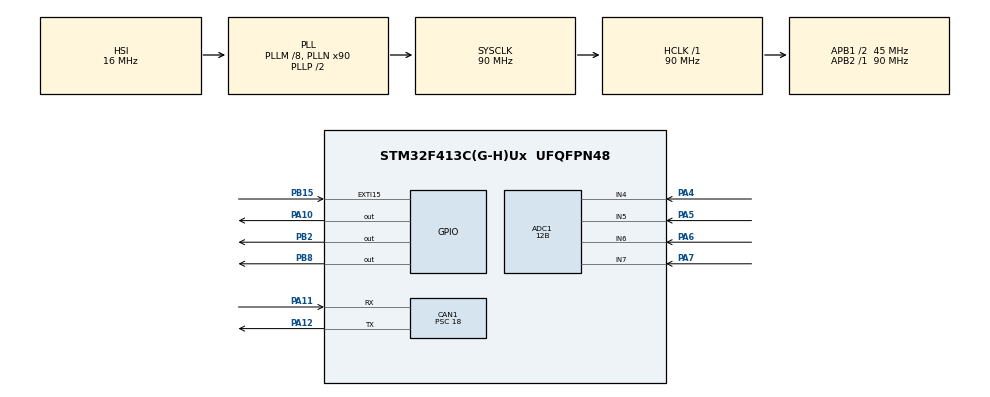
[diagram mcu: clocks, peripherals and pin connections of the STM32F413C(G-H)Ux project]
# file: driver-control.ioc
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ADC1.Channel-0\#ChannelRegularConversion=ADC_CHANNEL_4
ADC1.Channel-1\#ChannelRegularConversion=ADC_CHANNEL_5
ADC1.Channel-2\#ChannelRegularConversion=ADC_CHANNEL_6
ADC1.Channel-3\#ChannelRegularConversion=ADC_CHANNEL_7
ADC1.ContinuousConvMode=ENABLE
ADC1.DMAContinuousRequests=ENABLE
ADC1.EOCSelection=ADC_EOC_SINGLE_CONV
ADC1.NbrOfConversion=4
ADC1.NbrOfConversionFlag=1
ADC1.Rank-0\#ChannelRegularConversion=1
ADC1.Rank-1\#ChannelRegularConversion=2
ADC1.Rank-2\#ChannelRegularConversion=3
ADC1.Rank-3\#ChannelRegularConversion=4
ADC1.Resolution=ADC_RESOLUTION_12B
ADC1.SamplingTime-0\#ChannelRegularConversion=ADC_SAMPLETIME_3CYCLES
ADC1.SamplingTime-1\#ChannelRegularConversion=ADC_SAMPLETIME_3CYCLES
ADC1.SamplingTime-2\#ChannelRegularConversion=ADC_SAMPLETIME_3CYCLES
ADC1.SamplingTime-3\#ChannelRegularConversion=ADC_SAMPLETIME_3CYCLES
ADC1.ScanConvMode=ENABLE
ADC1.master=1
CAN1.ABOM=ENABLE
CAN1.AWUM=DISABLE
CAN1.BS1=CAN_BS1_3TQ
CAN1.CalculateBaudRate=500000
CAN1.CalculateTimeBit=2000
CAN1.CalculateTimeQuantum=400.0
CAN1.NART=DISABLE
CAN1.Prescaler=18
CAN1.TTCM=DISABLE
Dma.ADC1.0.Direction=DMA_PERIPH_TO_MEMORY
Dma.ADC1.0.FIFOMode=DMA_FIFOMODE_DISABLE
Dma.ADC1.0.Instance=DMA2_Stream0
Dma.ADC1.0.MemDataAlignment=DMA_MDATAALIGN_HALFWORD
Dma.ADC1.0.MemInc=DMA_MINC_ENABLE
Dma.ADC1.0.Mode=DMA_CIRCULAR
Dma.ADC1.0.PeriphDataAlignment=DMA_PDATAALIGN_HALFWORD
Dma.ADC1.0.PeriphInc=DMA_PINC_DISABLE
Dma.ADC1.0.Priority=DMA_PRIORITY_LOW
Dma.Request0=ADC1
Mcu.Family=STM32F4
Mcu.Name=STM32F413C(G-H)Ux
Mcu.Package=UFQFPN48
NVIC.CAN1_RX0_IRQn=true\:0\:0\:false\:false\:true\:true\:true
NVIC.CAN1_TX_IRQn=true\:0\:0\:false\:false\:true\:true\:true
NVIC.DMA2_Stream0_IRQn=true\:0\:0\:false\:false\:true\:false\:true
NVIC.EXTI15_10_IRQn=true\:0\:0\:false\:false\:true\:true\:true
NVIC.PriorityGroup=NVIC_PRIORITYGROUP_4
NVIC.TIM8_TRG_COM_TIM14_IRQn=true\:0\:0\:false\:false\:true\:true\:true
NVIC.TIM8_UP_TIM13_IRQn=true\:0\:0\:false\:false\:true\:true\:true
PA10.Signal=GPIO_Output
PA11.Mode=CAN_Activate
PA11.Signal=CAN1_RX
PA12.Mode=CAN_Activate
PA12.Signal=CAN1_TX
PA13.Mode=Serial_Wire
PA13.Signal=SYS_JTMS-SWDIO
PA14.Mode=Serial_Wire
PA14.Signal=SYS_JTCK-SWCLK
PA4.Signal=ADCx_IN4
PA5.Signal=ADCx_IN5
PA6.Signal=ADCx_IN6
PA7.Signal=ADCx_IN7
PB15.Signal=GPXTI15
PB2.Signal=GPIO_Output
PB8.Signal=GPIO_Output
PH0\ -\ OSC_IN.Mode=HSE-External-Oscillator
PH0\ -\ OSC_IN.Signal=RCC_OSC_IN
PH1\ -\ OSC_OUT.Mode=HSE-External-Oscillator
PH1\ -\ OSC_OUT.Signal=RCC_OSC_OUT
ProjectManager.HeapSize=0x200
ProjectManager.StackSize=0x400
ProjectManager.TargetToolchain=Makefile
RCC.AHBFreq_Value=90000000
RCC.APB1CLKDivider=RCC_HCLK_DIV2
RCC.APB1Freq_Value=45000000
RCC.APB1TimFreq_Value=90000000
RCC.APB2Freq_Value=90000000
RCC.APB2TimFreq_Value=90000000
RCC.CortexFreq_Value=90000000
RCC.HCLKFreq_Value=90000000
RCC.PLLM=8
RCC.PLLN=90
RCC.SYSCLKFreq_VALUE=90000000
RCC.SYSCLKSource=RCC_SYSCLKSOURCE_PLLCLK
RCC.USBFreq_Value=90000000
RCC.VCOOutputFreq_Value=180000000
SH.ADCx_IN4.0=ADC1_IN4,IN4
SH.ADCx_IN5.0=ADC1_IN5,IN5
SH.ADCx_IN6.0=ADC1_IN6,IN6
SH.ADCx_IN7.0=ADC1_IN7,IN7
TIM13.Period=100-1
TIM13.Prescaler=9000-1
TIM14.Period=10-1
TIM14.Prescaler=9000-1
VP_TIM13_VS_ClockSourceINT.Mode=Enable_Timer
VP_TIM14_VS_ClockSourceINT.Mode=Enable_Timer
board=custom

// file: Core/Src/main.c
/* USER CODE BEGIN Header */
/**
  ******************************************************************************
  * @file           : main.c
  * @brief          : Main program body
  ******************************************************************************
  * @attention
  *
  * Copyright (c) 2022 STMicroelectronics.
  * All rights reserved.
  *
  * This software is licensed under terms that can be found in the LICENSE file
  * in the root directory of this software component.
  * If no LICENSE file comes with this software, it is provided AS-IS.
  *
  ******************************************************************************
  */
/* USER CODE END Header */
#include "main.h"

/* USER CODE BEGIN PD */
#define ADC_BUF_LEN               4
#define MAX_PEDAL_SKEW            100
#define PEDAL_MAX                 600     // max pedal found from Accelerator test 12bit ADC
#define PEDAL_MIN                 128     // max pedal found from Accelerator test 12bit ADC
#define PEDAL_DEADBAND            10      // max pedal found from Accelerator test 12bit ADC
#define BRAKE_LIGHT_THRESHOLD     10      // when the brake light turns on
#define TORQUE_DEADBAND           0.05      // commanded torque deadband
#define MAX_TORQUE                2200     // MAX TORQUE RINEHART CAN ACCEPT, DO NOT CHANGE (230) // *10 Scaler

#define PRECHARGE_COEFFICIENT       0.85          // 95% complete with precharge so it's probably safe to continue

/* USER CODE END PD */

ADC_HandleTypeDef hadc1;
DMA_HandleTypeDef hdma_adc1;

CAN_HandleTypeDef hcan1;

TIM_HandleTypeDef htim13;
TIM_HandleTypeDef htim14;

/* USER CODE BEGIN PV */

// CAN transmitting
CAN_TxHeaderTypeDef TxHeader;               // either daq or control idk which one address
CAN_TxHeaderTypeDef TxHeader2;              // rinehart command message address
CAN_TxHeaderTypeDef TxHeader3;              // rinehart command message address
CAN_TxHeaderTypeDef TxHeader4;              // rinehart command message address
uint8_t TxData[8];
uint32_t TxMailbox;
uint32_t TxMailbox1;

// CAN reciving
CAN_RxHeaderTypeDef RxHeader;
uint8_t RxData[8];
CAN_FilterTypeDef filter0;                  // filter for __________
CAN_FilterTypeDef filter1;                  // fiter for ___________
CAN_FilterTypeDef canFilter2;                  // fiter for ___________
CAN_FilterTypeDef canFilter0;                  // fiter for ___________

// signal variables (0 = off | 1 = on)
uint8_t imdFault = 0;
uint8_t bmsFault = 0;
uint8_t switch_cooling = 0;
uint8_t switch_direction = 0;               // 0 = forward | 1 = reverse (this changes requires an inverter restart)
uint8_t brakeLight = 0;

// analog pins
uint16_t adc_buf[ADC_BUF_LEN];
uint16_t brake0 = 0;
uint16_t brake1 = 0;
uint16_t pedal0 = 0;
uint16_t pedal1 = 1;
uint16_t brakeAverage = 0;
uint16_t pedalAverage = 0;

// state variables (0 = off | 1 = on)
uint8_t ready_to_drive = 0;                 // 0 until precharge is done
uint8_t buzzerState = 0;                    // for controlling the buzzer
uint8_t buzzerCounter = 0;                  // counter for how long the buzzer has been buzzing
uint8_t enableInverter = 0;                 // stores state of inverter, can only be 1 after buzzer is done buzzing

uint32_t rinehartVoltage = 0;                 // read from CAN
uint32_t bmsVoltage = 0;					            // read from CAN

// rinehart commands
uint16_t commandedTorque = 0;               // torque request sent to rinehart, init with 0 to prevent unintended acceleration
uint16_t command_torque_limit = 0;          // max torque allowed to be requested from rinehart, init with 0 to prevent unintended accleration
enum mode                                   // create an enumeration for the drive modes
{
  SLOW,       // 50% power
  ECO,        // 75% power
  FAST        // 100% power
};
int driveMode = ECO;                        // set the inital drive mode of the car

// precharge states
enum prechargeStates
{
	PRECHARGE_OFF,
	PRECHARGE_ON,
	PRECHARGE_DONE,
	PRECHARGE_ERROR
};
uint8_t prechargeState = PRECHARGE_OFF;			  // set initial precharge state to OFF
uint8_t lastPrechargeState = PRECHARGE_OFF;
uint8_t voltageCheckCount = 0;
uint8_t rinehartUpdate = 0; // listens for rinehart receive parameter success message

/* USER CODE END PV */

void SystemClock_Config(void);
static void MX_GPIO_Init(void);
static void MX_CAN1_Init(void);
static void MX_DMA_Init(void);
static void MX_ADC1_Init(void);
static void MX_TIM14_Init(void);
static void MX_TIM13_Init(void);
/* USER CODE BEGIN PFP */
uint16_t adc_average(uint16_t adc0, uint16_t adc1);
long mapValue(long x, long in_min, long in_max, long out_min, long out_max);
uint16_t getCommandedTorque();
void prechargeControl();

/* USER CODE END PFP */

int main(void)
{
  /* USER CODE BEGIN 1 */

  // define TX header
  TxHeader.StdId = 0x093;
  TxHeader.ExtId = 0x0;
  TxHeader.IDE = CAN_ID_STD;
  TxHeader.RTR = CAN_RTR_DATA;
  TxHeader.DLC = 8;
  TxHeader.TransmitGlobalTime = DISABLE;

  // Rinehart command message
  TxHeader2.StdId = 0x0C0;
  TxHeader2.ExtId = 0x0;
  TxHeader2.IDE = CAN_ID_STD;
  TxHeader2.RTR = CAN_RTR_DATA;
  TxHeader2.DLC = 8;
  TxHeader2.TransmitGlobalTime = DISABLE;

  // define TX header
  TxHeader3.StdId = 0x092;
  TxHeader3.ExtId = 0x0;
  TxHeader3.IDE = CAN_ID_STD;
  TxHeader3.RTR = CAN_RTR_DATA;
  TxHeader3.DLC = 8;
  TxHeader3.TransmitGlobalTime = DISABLE;

   // define TX header
  TxHeader4.StdId = 0x0C1;
  TxHeader4.ExtId = 0x0;
  TxHeader4.IDE = CAN_ID_STD;
  TxHeader4.RTR = CAN_RTR_DATA;
  TxHeader4.DLC = 8;
  TxHeader4.TransmitGlobalTime = DISABLE;

  /* USER CODE END 1 */

  /* MCU Configuration--------------------------------------------------------*/

  /* Reset of all peripherals, Initializes the Flash interface and the Systick. */
  HAL_Init();

  /* Configure the system clock */
  SystemClock_Config();

  /* Initialize all configured peripherals */
  MX_GPIO_Init();
  MX_CAN1_Init();
  MX_DMA_Init();
  MX_ADC1_Init();
  MX_TIM14_Init();
  MX_TIM13_Init();
  /* USER CODE BEGIN 2 */

  // start interrupts
  HAL_CAN_Start(&hcan1);
  HAL_CAN_ActivateNotification(&hcan1, CAN_IT_RX_FIFO0_MSG_PENDING);
  HAL_TIM_Base_Start_IT(&htim14);
  // HAL_TIM_Base_Start_IT(&htim13);
  HAL_ADC_Start_DMA(&hadc1, (uint32_t*)adc_buf, ADC_BUF_LEN);

  /* USER CODE END 2 */

  /* Infinite loop */
  while (1)
  {

  }
}

void SystemClock_Config(void)
{
  RCC_OscInitTypeDef RCC_OscInitStruct = {0};
  RCC_ClkInitTypeDef RCC_ClkInitStruct = {0};

  /** Configure the main internal regulator output voltage
  */
  __HAL_RCC_PWR_CLK_ENABLE();
  __HAL_PWR_VOLTAGESCALING_CONFIG(PWR_REGULATOR_VOLTAGE_SCALE1);
  /** Initializes the RCC Oscillators according to the specified parameters
  * in the RCC_OscInitTypeDef structure.
  */
  RCC_OscInitStruct.OscillatorType = RCC_OSCILLATORTYPE_HSI;
  RCC_OscInitStruct.HSIState = RCC_HSI_ON;
  RCC_OscInitStruct.HSICalibrationValue = RCC_HSICALIBRATION_DEFAULT;
  RCC_OscInitStruct.PLL.PLLState = RCC_PLL_ON;
  RCC_OscInitStruct.PLL.PLLSource = RCC_PLLSOURCE_HSI;
  RCC_OscInitStruct.PLL.PLLM = 8;
  RCC_OscInitStruct.PLL.PLLN = 90;
  RCC_OscInitStruct.PLL.PLLP = RCC_PLLP_DIV2;
  RCC_OscInitStruct.PLL.PLLQ = 2;
  RCC_OscInitStruct.PLL.PLLR = 2;
  if (HAL_RCC_OscConfig(&RCC_OscInitStruct) != HAL_OK)
  {
    Error_Handler();
  }
  /** Initializes the CPU, AHB and APB buses clocks
  */
  RCC_ClkInitStruct.ClockType = RCC_CLOCKTYPE_HCLK|RCC_CLOCKTYPE_SYSCLK
                              |RCC_CLOCKTYPE_PCLK1|RCC_CLOCKTYPE_PCLK2;
  RCC_ClkInitStruct.SYSCLKSource = RCC_SYSCLKSOURCE_PLLCLK;
  RCC_ClkInitStruct.AHBCLKDivider = RCC_SYSCLK_DIV1;
  RCC_ClkInitStruct.APB1CLKDivider = RCC_HCLK_DIV2;
  RCC_ClkInitStruct.APB2CLKDivider = RCC_HCLK_DIV1;

  if (HAL_RCC_ClockConfig(&RCC_ClkInitStruct, FLASH_LATENCY_3) != HAL_OK)
  {
    Error_Handler();
  }
}

static void MX_ADC1_Init(void)
{

  ADC_ChannelConfTypeDef sConfig = {0};

  /** Configure the global features of the ADC (Clock, Resolution, Data Alignment and number of conversion)
  */
  hadc1.Instance = ADC1;
  hadc1.Init.ClockPrescaler = ADC_CLOCK_SYNC_PCLK_DIV4;
  hadc1.Init.Resolution = ADC_RESOLUTION_12B;
  hadc1.Init.ScanConvMode = ENABLE;
  hadc1.Init.ContinuousConvMode = ENABLE;
  hadc1.Init.DiscontinuousConvMode = DISABLE;
  hadc1.Init.ExternalTrigConvEdge = ADC_EXTERNALTRIGCONVEDGE_NONE;
  hadc1.Init.ExternalTrigConv = ADC_SOFTWARE_START;
  hadc1.Init.DataAlign = ADC_DATAALIGN_RIGHT;
  hadc1.Init.NbrOfConversion = 4;
  hadc1.Init.DMAContinuousRequests = ENABLE;
  hadc1.Init.EOCSelection = ADC_EOC_SINGLE_CONV;
  if (HAL_ADC_Init(&hadc1) != HAL_OK)
  {
    Error_Handler();
  }
  /** Configure for the selected ADC regular channel its corresponding rank in the sequencer and its sample time.
  */
  sConfig.Channel = ADC_CHANNEL_4;
  sConfig.Rank = 1;
  sConfig.SamplingTime = ADC_SAMPLETIME_3CYCLES;
  if (HAL_ADC_ConfigChannel(&hadc1, &sConfig) != HAL_OK)
  {
    Error_Handler();
  }
  /** Configure for the selected ADC regular channel its corresponding rank in the sequencer and its sample time.
  */
  sConfig.Channel = ADC_CHANNEL_5;
  sConfig.Rank = 2;
  if (HAL_ADC_ConfigChannel(&hadc1, &sConfig) != HAL_OK)
  {
    Error_Handler();
  }
  /** Configure for the selected ADC regular channel its corresponding rank in the sequencer and its sample time.
  */
  sConfig.Channel = ADC_CHANNEL_6;
  sConfig.Rank = 3;
  if (HAL_ADC_ConfigChannel(&hadc1, &sConfig) != HAL_OK)
  {
    Error_Handler();
  }
  /** Configure for the selected ADC regular channel its corresponding rank in the sequencer and its sample time.
  */
  sConfig.Channel = ADC_CHANNEL_7;
  sConfig.Rank = 4;
  if (HAL_ADC_ConfigChannel(&hadc1, &sConfig) != HAL_OK)
  {
    Error_Handler();
  }

}

static void MX_CAN1_Init(void)
{

  hcan1.Instance = CAN1;
  hcan1.Init.Prescaler = 18;
  hcan1.Init.Mode = CAN_MODE_NORMAL;
  hcan1.Init.SyncJumpWidth = CAN_SJW_1TQ;
  hcan1.Init.TimeSeg1 = CAN_BS1_3TQ;
  hcan1.Init.TimeSeg2 = CAN_BS2_1TQ;
  hcan1.Init.TimeTriggeredMode = DISABLE;
  hcan1.Init.AutoBusOff = ENABLE;
  hcan1.Init.AutoWakeUp = DISABLE;
  hcan1.Init.AutoRetransmission = DISABLE;
  hcan1.Init.ReceiveFifoLocked = DISABLE;
  hcan1.Init.TransmitFifoPriority = DISABLE;
  if (HAL_CAN_Init(&hcan1) != HAL_OK)
  {
    Error_Handler();
  }
  /* USER CODE BEGIN CAN1_Init 2 */

  // listen for RCB
  filter0.FilterIdHigh = 0x082 << 5;
  filter0.FilterIdLow = 0x000;
  filter0.FilterMaskIdHigh = 0x082 << 5;
  filter0.FilterMaskIdLow = 0x000;
  filter0.FilterFIFOAssignment =  CAN_RX_FIFO0;
  filter0.FilterBank = 1;
  filter0.FilterMode = CAN_FILTERMODE_IDMASK;
  filter0.FilterScale = CAN_FILTERSCALE_32BIT;
  filter0.FilterActivation = ENABLE;
  filter0.SlaveStartFilterBank = 0;

  HAL_CAN_ConfigFilter(&hcan1, &filter0);

  // listen for HVB
  filter1.FilterIdHigh = 0x0A7 << 5;
  filter1.FilterIdLow = 0x000;
  filter1.FilterMaskIdHigh = 0x0A7 << 5;
  filter1.FilterMaskIdLow = 0x000;
  filter1.FilterFIFOAssignment =  CAN_RX_FIFO0;
  filter1.FilterBank = 2;
  filter1.FilterMode = CAN_FILTERMODE_IDMASK;
  filter1.FilterScale = CAN_FILTERSCALE_32BIT;
  filter1.FilterActivation = ENABLE;
  filter1.SlaveStartFilterBank = 0;

  HAL_CAN_ConfigFilter(&hcan1, &filter1);

    // init the CAN filter for Rinehart Parameter Success messages
  canFilter2.FilterIdHigh = 0x0C2 << 5;      // Rinehart IDs: 0xA0 - 0xB1
  canFilter2.FilterIdLow = 0x000;
  canFilter2.FilterMaskIdHigh = 0x0C2 << 5;
  canFilter2.FilterMaskIdLow = 0x000;
  canFilter2.FilterBank = 3;
  canFilter2.FilterMode = CAN_FILTERMODE_IDMASK;
  canFilter2.FilterFIFOAssignment = CAN_RX_FIFO0;
  canFilter2.FilterScale = CAN_FILTERSCALE_32BIT;
  canFilter2.FilterActivation = ENABLE;

HAL_CAN_ConfigFilter(&hcan1, &canFilter2);

  // init the CAN filter for BMS messages
    canFilter0.FilterIdHigh = 0x6B0 << 5;   // Orion ID: 0x6B0
  	canFilter0.FilterIdLow = 0x000;
    canFilter0.FilterMaskIdHigh = 0x6B0 << 5;
  	canFilter0.FilterMaskIdLow = 0x000;
    canFilter0.FilterBank = 4;
  	canFilter0.FilterMode = CAN_FILTERMODE_IDMASK;
  	canFilter0.FilterFIFOAssignment = CAN_RX_FIFO0;
  	canFilter0.FilterScale = CAN_FILTERSCALE_32BIT;
  	canFilter0.FilterActivation = ENABLE;

    HAL_CAN_ConfigFilter(&hcan1, &canFilter0);

  /* USER CODE END CAN1_Init 2 */

}

static void MX_TIM13_Init(void)
{

  htim13.Instance = TIM13;
  htim13.Init.Prescaler = 9000-1;
  htim13.Init.CounterMode = TIM_COUNTERMODE_UP;
  htim13.Init.Period = 100-1;
  htim13.Init.ClockDivision = TIM_CLOCKDIVISION_DIV1;
  htim13.Init.AutoReloadPreload = TIM_AUTORELOAD_PRELOAD_DISABLE;
  if (HAL_TIM_Base_Init(&htim13) != HAL_OK)
  {
    Error_Handler();
  }

}

static void MX_TIM14_Init(void)
{

  htim14.Instance = TIM14;
  htim14.Init.Prescaler = 9000-1;
  htim14.Init.CounterMode = TIM_COUNTERMODE_UP;
  htim14.Init.Period = 10-1;
  htim14.Init.ClockDivision = TIM_CLOCKDIVISION_DIV1;
  htim14.Init.AutoReloadPreload = TIM_AUTORELOAD_PRELOAD_DISABLE;
  if (HAL_TIM_Base_Init(&htim14) != HAL_OK)
  {
    Error_Handler();
  }

}

static void MX_DMA_Init(void)
{

  /* DMA controller clock enable */
  __HAL_RCC_DMA2_CLK_ENABLE();

  /* DMA interrupt init */
  /* DMA2_Stream0_IRQn interrupt configuration */
  HAL_NVIC_SetPriority(DMA2_Stream0_IRQn, 0, 0);
  HAL_NVIC_EnableIRQ(DMA2_Stream0_IRQn);

}

static void MX_GPIO_Init(void)
{
  GPIO_InitTypeDef GPIO_InitStruct = {0};

  /* GPIO Ports Clock Enable */
  __HAL_RCC_GPIOH_CLK_ENABLE();
  __HAL_RCC_GPIOA_CLK_ENABLE();
  __HAL_RCC_GPIOB_CLK_ENABLE();

  /*Configure GPIO pin Output Level */
  HAL_GPIO_WritePin(GPIOB, GPIO_PIN_2|GPIO_PIN_8, GPIO_PIN_RESET);

  /*Configure GPIO pin Output Level */
  HAL_GPIO_WritePin(GPIOA, GPIO_PIN_10, GPIO_PIN_RESET);

  /*Configure GPIO pins : PB2 PB8 */
  GPIO_InitStruct.Pin = GPIO_PIN_2|GPIO_PIN_8;
  GPIO_InitStruct.Mode = GPIO_MODE_OUTPUT_PP;
  GPIO_InitStruct.Pull = GPIO_NOPULL;
  GPIO_InitStruct.Speed = GPIO_SPEED_FREQ_LOW;
  HAL_GPIO_Init(GPIOB, &GPIO_InitStruct);

  /*Configure GPIO pin : PB15 */
  GPIO_InitStruct.Pin = GPIO_PIN_15;
  GPIO_InitStruct.Mode = GPIO_MODE_IT_RISING;
  GPIO_InitStruct.Pull = GPIO_NOPULL;
  HAL_GPIO_Init(GPIOB, &GPIO_InitStruct);

  /*Configure GPIO pin : PA10 */
  GPIO_InitStruct.Pin = GPIO_PIN_10;
  GPIO_InitStruct.Mode = GPIO_MODE_OUTPUT_PP;
  GPIO_InitStruct.Pull = GPIO_NOPULL;
  GPIO_InitStruct.Speed = GPIO_SPEED_FREQ_LOW;
  HAL_GPIO_Init(GPIOA, &GPIO_InitStruct);

  /* EXTI interrupt init*/
  HAL_NVIC_SetPriority(EXTI15_10_IRQn, 0, 0);
  HAL_NVIC_EnableIRQ(EXTI15_10_IRQn);

}

/* USER CODE BEGIN 4 */

// re-map function
long mapValue(long x, long in_min, long in_max, long out_min, long out_max) {
  return (x - in_min) * (out_max - out_min) / (in_max - in_min) + out_min;
}

void prechargeControl()
{
  // NOTE: Weird thing about Rinehart 0x0A7 message:
  //      Sometimes it sends a 0 byte length data. Make sure we're only reading
  //      The value if the DLC is 8
	switch (prechargeState)
	{
		case (PRECHARGE_OFF):
			// set ready to drive to false
			ready_to_drive = 0;

      // this state sends a message to rinehart
      // if (lastPrechargeState != prechargeState)
      // {

      if (!rinehartUpdate){ // keep sending message until rinehart says it updated

        // message is sent to rinehart to turn everything off
        TxData[0] = 1;          // parameter address. LSB
        TxData[1] = 0;          // parameter address. MSB
        TxData[2] = 1;          // Read / Write. 1 is write
        TxData[3] = 0;          // N/A
        TxData[4] = 0;          // Data. "0" off, "1": relay 1 on, "2": relay 2 on, "3": relay 1 and 2 on
        TxData[5] = 0x55;         // 55 means relay control
        TxData[6] = 0;          // N/A
        TxData[7] = 0;          // N/A

        // send message
        HAL_CAN_AddTxMessage(&hcan1, &TxHeader4, TxData, &TxMailbox1);
      }

      // else{
        // update last precharge state
        // lastPrechargeState = prechargeState;
      // }

      // move to precharge on
      if (rinehartUpdate){
        prechargeState = PRECHARGE_ON;
        rinehartUpdate = 0;
      }

      // }
		break;

		case (PRECHARGE_ON):
      // not ready to drive yet
      ready_to_drive = 0;

      // turn on precharge relay
      // this state sends a message to rinehart to turn
      // if (lastPrechargeState != prechargeState)
      // {
      if (!rinehartUpdate){
        // message is sent to rinehart to turn on precharge relay
        // precharge relay is on relay 1 from Rinehart
        TxData[0] = 1;            // parameter address. LSB
        TxData[1] = 0;            // parameter address. MSB
        TxData[2] = 1;            // Read / Write. 1 is write
        TxData[3] = 0;            // N/A
        TxData[4] = 1;            // Data. "0" off, "1": relay 1 on, "2": relay 2 on, "3": relay 1 and 2 on
        TxData[5] = 0x55;           // 55 means relay control
        TxData[6] = 0;            // N/A
        TxData[7] = 0;            // N/A

        // send message
        HAL_CAN_AddTxMessage(&hcan1, &TxHeader4, TxData, &TxMailbox1);

        // update last precharge state
        lastPrechargeState = prechargeState;
      }
      // }

			// ensure voltages are above correct values
			if ((rinehartVoltage > (bmsVoltage * PRECHARGE_COEFFICIENT)) && (bmsVoltage > 220))   // 220 so not just 1 pack can trigger this
      {
        prechargeState = PRECHARGE_DONE;
        rinehartUpdate = 0;
      }

      // if we do this for too long, move to error state
      // if (voltageCheckCount >= NUM_VOLTAGE_CHECKS)
      // {
      //   prechargeState = PRECHARGE_ERROR;
      // }

      // else
      // {
      //   voltageCheckCount++; // add to the counter.
      // }
		break;

		case (PRECHARGE_DONE):
      // now we're stuck in this state, not great. Implement error handling.
      // this state sends a message to rinehart to turn
      // if (lastPrechargeState != prechargeState)
      // {
      if (!rinehartUpdate){
        // message is sent to rinehart to turn everything on
        // Keep precharge relay on and turn on main contactor
        TxData[0] = 1; // parameter address. LSB
        TxData[1] = 0; // parameter address. MSB
        TxData[2] = 1; // Read / Write. 1 is write
        TxData[3] = 0; // N/A
        TxData[4] = 3; // Data. "0" off, "1": relay 1 on, "2": relay 2 on, "3": relay 1 and 2 on
        TxData[5] = 0x55; // 55 means relay control
        TxData[6] = 0; // N/A
        TxData[7] = 0; // N/A

        // send message
        HAL_CAN_AddTxMessage(&hcan1, &TxHeader4, TxData, &TxMailbox1);

        // now that precharge is complete we can drive the car
        ready_to_drive = 1;
      }

        // update last precharge state
        lastPrechargeState = prechargeState;
        rinehartUpdate = 0;

        // ensure voltages are above correct values
			if ((rinehartVoltage < 50))   // 220 so not just 1 pack can trigger this
      {
        prechargeState = PRECHARGE_OFF;
        rinehartUpdate = 0;
      }

      // if rinehart voltage drops below battery, something's wrong,
      // turn everything off
			// if (rinehartVoltage <= (bmsVoltage * (PRECHARGE_COEFFICIENT)-20)) // 20 is a magic number
      // {
      //   prechargeState = PRECHARGE_OFF; // something weird happened. Go to error
      // }
		break;

		case (PRECHARGE_ERROR):
			// the car is most definitly not ready to drive
      // set ready to drive off
			ready_to_drive = 0;

      // if (lastPrechargeState != prechargeState)
      // {
        // message is sent to rinehart to turn everything off
        TxData[0] = 1;            // parameter address. LSB
        TxData[1] = 0;            // parameter address. MSB
        TxData[2] = 1;            // Read / Write. 1 is write
        TxData[3] = 0;            // N/A
        TxData[4] = 0;            // Data. "0" off, "1": relay 1 on, "2": relay 2 on, "3": relay 1 and 2 on
        TxData[5] = 0x55;           // 55 means relay control
        TxData[6] = 0;            // N/A
        TxData[7] = 0;            // N/A

        // send message
        HAL_CAN_AddTxMessage(&hcan1, &TxHeader4, TxData, &TxMailbox1);

        // update last precharge state
        // lastPrechargeState = prechargeState;
      // }
		break;

		default:
      // fall back state, this indicates we did some undefined action that brought us here
      // we will move to PRECHARGE_ERROR to ensure ready_to_drive stays false :)
			prechargeState = PRECHARGE_ERROR;
		break;
	}
}

// function to re-map the pedal value to a torque value based on the drive mode
uint16_t getCommandedTorque()
{
  // get the pedal average
  pedalAverage = adc_average(pedal0, pedal1);

  // drive mode logic
  switch (driveMode)
  {
    case SLOW:  // runs at 50% power
      commandedTorque = mapValue(pedalAverage, PEDAL_MIN, PEDAL_MAX, 0, MAX_TORQUE * 0.50);
    break;

    case ECO:   // runs at 75% power
      commandedTorque = mapValue(pedalAverage, PEDAL_MIN, PEDAL_MAX, 0, MAX_TORQUE * 0.75);
    break;

    case FAST:  // runs at 100% power
      commandedTorque = mapValue(pedalAverage, PEDAL_MIN, PEDAL_MAX, 0, MAX_TORQUE);
    break;

    // error state, set the mode to ECO
    default:
      // set the state to ECO for next time
      driveMode = ECO;

      // we don't want to send a torque if we are in an undefined state
      commandedTorque = 0;
    break;
  }

  // for throttle safety, we will have a deadband
  if (((float)commandedTorque / MAX_TORQUE) < TORQUE_DEADBAND)   // if less than 5% power is requested, just call it 0
  {
    commandedTorque = 0;
  }

  return commandedTorque;
}

// Recive CAN Messages
void HAL_CAN_RxFifo0MsgPendingCallback(CAN_HandleTypeDef *hcan)
{
  if (HAL_CAN_GetRxMessage(&hcan1, CAN_RX_FIFO0, &RxHeader, RxData) != HAL_OK){
    Error_Handler();
  }

  // read CAN data from Rear Control Board
  if (RxHeader.StdId == 0x082)
  {
      imdFault = RxData[0];
      bmsFault = RxData[1];
  }

  // read CAN data from High Voltage Board
  // if (RxHeader.StdId == 0x087)
  // {
  //     ready_to_drive = RxData[0];
  // }
    // get BMS total voltages
  if (RxHeader.StdId == 0x6B0)
  {
    // BMS voltage is spread across the first 2 bytes
	  int volt1 = RxData[2];
    int volt2 = RxData[3];

    // combine the first two bytes and assign that to the BMS voltage
    bmsVoltage = (volt1 << 8) | volt2; // orion has a pre-scaller of *10
  }

  if (RxHeader.StdId == 0x0A7)    // TODO: sometimes rinehart sends 0 length messages so only read when there's data
  {
    // rinehart voltage is spread across the first 2 bytes
    int rine1 = RxData[0];
    int rine2 = RxData[1];

    // combine the first two bytes and assign that to the rinehart voltage
    rinehartVoltage = (rine2 << 8) | rine1;
  }

  if (RxHeader.StdId == 0x0C2)    // TODO: sometimes rinehart sends 0 length messages so only read when there's data
  {
    rinehartUpdate = RxData[2];
  }
}

void HAL_GPIO_EXTI_Callback(uint16_t GPIO_Pin)
{
  // handle start button interrupt
  if (GPIO_Pin == GPIO_PIN_15)
  {
    // if ready to drive & the button has been pushed, start the buzzer
    if (ready_to_drive)
    {
      buzzerState = 1;
    }
  }
}

// Timer Interrupts
void HAL_TIM_PeriodElapsedCallback(TIM_HandleTypeDef *htim)
{
  // Timer Interrupt on a __Hz interval
  if (htim == &htim13)
  {
    // // drive mode logic
    // commandedTorque = getCommandedTorque();

    // // build CONTROL CAN message - sending to rinehart to address C0
    // TxData[0] = commandedTorque & 0xFF;
    // TxData[1] = commandedTorque >> 8;
    // TxData[2] = 0;                        // speed command NOT USING
    // TxData[3] = 0;                        // speed command NOT USING
    // TxData[4] = 0;                        // switch_direction is usually here, 0 is reverse (we run in reverse)
    // TxData[5] = enableInverter;
    // TxData[6] =  0x98;                    // this is the max  torque value that we are establishing that can be sent to rinehart
    // TxData[7] =  0x08;                    // HARDCODED AS 220, MAX VALUE ACCEPTED BY MOTOR is 230

    // // send message
    // HAL_CAN_AddTxMessage(&hcan1, &TxHeader2, TxData, &TxMailbox);

    // prechargeControl();

    // // build message for _____
    // TxData[0] = ready_to_drive;               // controled by precharge
    // TxData[1] = 0;                           // 0 for now TODO: implement fault detection
    // TxData[2] = 0;                          // DMA update
    // TxData[3] = rinehartVoltage & 0xFF;     // update on CAN message LSB
    // TxData[4] = rinehartVoltage >> 8;       // update on CAN message MSB
    // TxData[5] = bmsVoltage & 0xFF;          // update on CAN message LSB
    // TxData[6] = bmsVoltage >> 8;            // update on CAN message MSB
    // TxData[7] = prechargeState;             // show which state of precharge / driving we're in, 0:off, 1:pre, 2: main

    // // send message
    // HAL_CAN_AddTxMessage(&hcan1, &TxHeader3, TxData, &TxMailbox);
  }

  // Timer Interrupt on a __Hz interval
  if (htim == &htim14)
  {

    // drive mode logic
    commandedTorque = getCommandedTorque();

    // build CONTROL CAN message - sending to rinehart to address C0
    TxData[0] = commandedTorque & 0xFF;
    TxData[1] = commandedTorque >> 8;
    TxData[2] = 0;                        // speed command NOT USING
    TxData[3] = 0;                        // speed command NOT USING
    TxData[4] = 0;                        // switch_direction is usually here, 0 is reverse (we run in reverse)
    TxData[5] = enableInverter;
    TxData[6] =  0x00;                    // this is the max  torque value that we are establishing that can be sent to rinehart
    TxData[7] =  0x00;                    // HARDCODED AS 220, MAX VALUE ACCEPTED BY MOTOR is 230

    // send message
    HAL_CAN_AddTxMessage(&hcan1, &TxHeader2, TxData, &TxMailbox);

    prechargeControl();

    // sample cooling switch and drive direction switch
    switch_cooling = HAL_GPIO_ReadPin(GPIOB, GPIO_PIN_12);
    switch_direction = HAL_GPIO_ReadPin(GPIOB, GPIO_PIN_13);

    // start button led logic
    if (ready_to_drive)
    {
      HAL_GPIO_WritePin(GPIOB, GPIO_PIN_10, GPIO_PIN_SET);      // turn the LED on
    }
    else
    {
      HAL_GPIO_WritePin(GPIOB, GPIO_PIN_10, GPIO_PIN_RESET);    // turn the LED off
      enableInverter = 0;                                       // disable inverter
    }

    // buzzer logic
    if (buzzerState == 1){
      buzzerCounter++;
      if (buzzerCounter >= 100)    // buzzerCounter is being updated on a 50Hz interval, so after 20 cycles, 2 seconds have passed
      {
        buzzerState = 0;
        buzzerCounter = 0;
        enableInverter = 1;       // enable the inverter so that we can tell rinehart to turn inverter on
      }
    }

    // brake light logic
    brakeAverage = adc_average(brake0, brake1);
    if (brakeAverage >= BRAKE_LIGHT_THRESHOLD)
    {
      brakeLight = 1;     // turn it on
    }

    else
    {
      brakeLight = 0;     // turn it off
    }

    // // build CAN message - sends from address 0x93
    // TxData[0] = pedalAverage >> 8;
    // TxData[1] = pedalAverage & 0xFF;
    // TxData[2] = brakeAverage >> 8;
    // TxData[3] = brakeAverage & 0xFF;
    // TxData[4] = brakeLight;
    // TxData[5] = buzzerState;
    // TxData[6] = driveMode;
    // TxData[7] = 0x07;

    // // send message
    // HAL_CAN_AddTxMessage(&hcan1, &TxHeader, TxData, &TxMailbox);

    // update LEDS and inverter drive direction
    HAL_GPIO_WritePin(GPIOB, GPIO_PIN_2, imdFault);
    HAL_GPIO_WritePin(GPIOA, GPIO_PIN_10, bmsFault);
    HAL_GPIO_WritePin(GPIOB, GPIO_PIN_8, buzzerState);
  }
}

void HAL_ADC_ConvCpltCallback(ADC_HandleTypeDef* hadc)
{
  // read values from DMA
  brake0 = adc_buf[0];
  brake1 = adc_buf[1];
  pedal0 = adc_buf[2];
  pedal1 = adc_buf[3];
}

uint16_t adc_average(uint16_t adc0, uint16_t adc1)
{
  // calculate the average of the two pedal potentiometer readings
  uint16_t average = (adc0 + adc1) / 2;

  // ensure the pedal skew isn't dangerously out of bounds
  // if (pow(pedal0 - pedalAverage, 2) > MAX_PEDAL_SKEW ||
  //     pow(pedal1 - pedalAverage, 2) > MAX_PEDAL_SKEW ){
  //     pedalAverage = 0;
  // }

  return average;
}

/* USER CODE END 4 */

void Error_Handler(void)
{
  __disable_irq();
  while (1)
  {
  }
}
